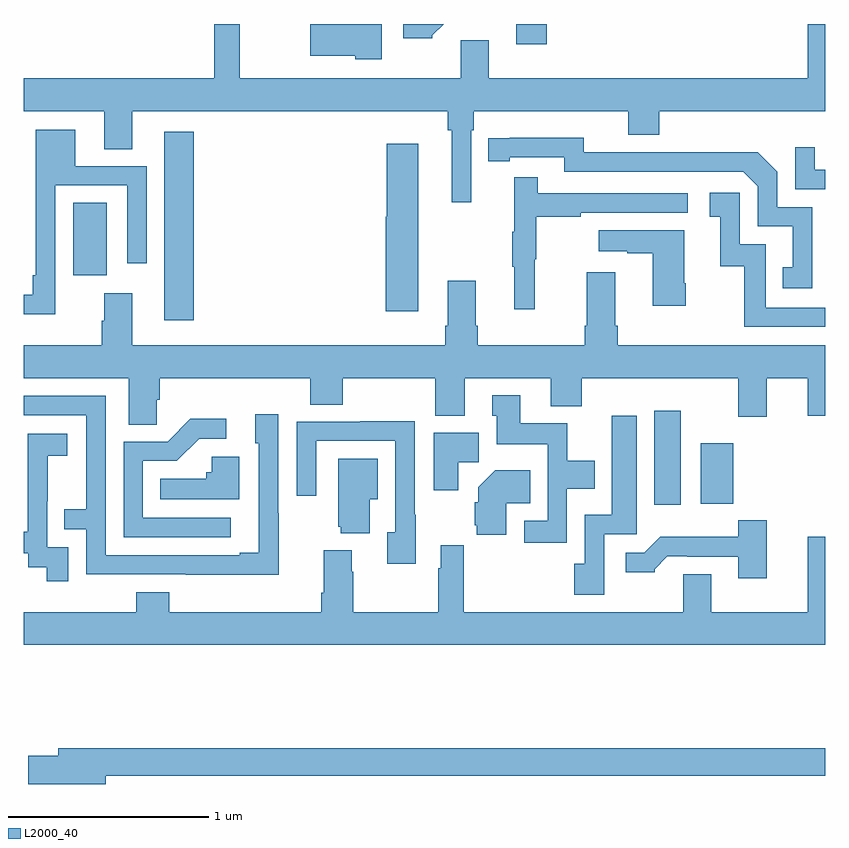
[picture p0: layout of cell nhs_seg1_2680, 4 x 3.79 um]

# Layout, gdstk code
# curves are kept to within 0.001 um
import gdstk
lib = gdstk.Library(unit=1e-6, precision=1e-09)
def R(c, l, rs):  # rectangles x0, y0, x1, y1
    for r in rs: c.add(gdstk.rectangle(r[:2], r[2:], *l))
def P(c, l, *ps):  # polygons
    for p in ps: c.add(gdstk.Polygon(p, *l))
L2000_40 = (2000, 40)

nhs_seg1_2680 = lib.new_cell('nhs_seg1_2680')
R(nhs_seg1_2680, L2000_40, [(260.147,517.8,260.278,518.269), (257.702,518.721,257.849,519.661), (257.246,518.946,257.413,519.308), (259.457,520.097,259.61,520.199)])
P(nhs_seg1_2680, L2000_40, [(259.038,520.142),(259.095,520.199),(258.894,520.199),(258.894,520.127),(259.038,520.127)],
  [(259.233,519.668),(259.247,519.668),(259.247,519.764),(260.018,519.764),(260.018,519.647),(260.171,519.647),(260.171,519.764),(261,519.764),(261,520.199),(260.912,520.199),(260.912,519.928),(259.321,519.928),(259.321,520.118),(259.181,520.118),(259.181,519.928),(258.079,519.928),(258.079,520.199),(257.95,520.199),(257.95,519.928),(257,519.928),(257,519.764),(257.402,519.764),(257.402,519.574),(257.542,519.574),(257.542,519.764),(259.117,519.764),(259.117,519.668),(259.136,519.668),(259.136,519.309),(259.233,519.309)],
  [(258.786,520.199),(258.69,520.199),(258.69,520.198),(258.429,520.198),(258.429,520.04),(258.654,520.04),(258.654,520.022),(258.786,520.022)],
  [(257.157,519.393),(257.517,519.393),(257.517,519.006),(257.613,519.006),(257.613,519.489),(257.257,519.489),(257.257,519.67),(257.061,519.67),(257.061,518.944),(257.045,518.944),(257.045,518.848),(257,518.848),(257,518.75),(257.157,518.75)],
  [(260.934,519.285),(260.76,519.285),(260.76,519.462),(260.662,519.56),(260.254,519.56),(260.254,519.558),(259.794,519.558),(259.794,519.631),(259.318,519.63),(259.318,519.514),(259.426,519.514),(259.426,519.534),(259.698,519.534),(259.698,519.462),(260.592,519.462),(260.664,519.39),(260.664,519.189),(260.837,519.189),(260.837,518.985),(260.788,518.985),(260.788,518.88),(260.934,518.88)],
  [(258.97,519.601),(258.812,519.601),(258.812,519.237),(258.806,519.237),(258.806,518.766),(258.97,518.766)],
  [(261,519.471),(260.947,519.471),(260.947,519.583),(260.85,519.583),(260.85,519.375),(261,519.375)],
  [(259.55,519.024),(259.558,519.024),(259.558,519.238),(259.781,519.238),(259.781,519.258),(260.314,519.258),(260.314,519.354),(259.565,519.354),(259.565,519.433),(259.448,519.433),(259.448,519.161),(259.437,519.161),(259.437,518.987),(259.448,518.987),(259.448,518.775),(259.55,518.775)],
  [(261,518.784),(260.703,518.784),(260.703,519.099),(260.574,519.099),(260.574,519.358),(260.424,519.358),(260.424,519.237),(260.477,519.237),(260.477,518.991),(260.595,518.991),(260.595,518.688),(261,518.688)],
  [(260.304,518.905),(260.296,518.905),(260.296,519.169),(259.869,519.169),(259.869,519.065),(260.012,519.065),(260.012,519.055),(260.138,519.055),(260.138,518.793),(260.304,518.793)],
  [(257.664,518.323),(257.678,518.323),(257.678,518.432),(258.431,518.432),(258.431,518.299),(258.591,518.299),(258.591,518.432),(259.054,518.432),(259.054,518.243),(259.201,518.243),(259.201,518.432),(259.631,518.432),(259.631,518.291),(259.784,518.291),(259.784,518.432),(260.567,518.432),(260.567,518.238),(260.707,518.238),(260.707,518.432),(260.912,518.432),(260.912,518.244),(261,518.244),(261,518.596),(259.964,518.596),(259.964,518.692),(259.951,518.692),(259.951,518.959),(259.811,518.959),(259.811,518.692),(259.799,518.692),(259.799,518.596),(259.267,518.596),(259.267,518.692),(259.255,518.692),(259.255,518.917),(259.115,518.917),(259.115,518.692),(259.103,518.692),(259.103,518.596),(257.542,518.596),(257.542,518.854),(257.402,518.854),(257.402,518.717),(257.39,518.717),(257.39,518.596),(257,518.596),(257,518.432),(257.525,518.432),(257.525,518.2),(257.664,518.2)],
  [(259.71,517.88),(259.849,517.88),(259.849,518.02),(259.713,518.02),(259.713,518.206),(259.477,518.206),(259.477,518.347),(259.337,518.347),(259.337,518.244),(259.361,518.244),(259.361,518.102),(259.614,518.102),(259.614,517.719),(259.497,517.719),(259.497,517.611),(259.71,517.611)],
  [(258.273,517.757),(258.27,517.757),(258.27,518.251),(258.155,518.251),(258.155,518.106),(258.174,518.106),(258.174,517.561),(258.077,517.561),(258.077,517.548),(257.409,517.548),(257.409,518.343),(257,518.343),(257,518.247),(257.313,518.247),(257.313,517.778),(257.203,517.778),(257.203,517.677),(257.313,517.677),(257.313,517.452),(257.809,517.452),(257.809,517.451),(258.273,517.451)],
  [(259.896,517.653),(260.059,517.653),(260.059,518.245),(259.934,518.245),(259.934,517.75),(259.8,517.75),(259.8,517.506),(259.748,517.506),(259.748,517.35),(259.896,517.35)],
  [(258.034,517.734),(257.595,517.734),(257.595,518.019),(257.764,518.019),(257.875,518.13),(258.01,518.13),(258.01,518.228),(257.831,518.228),(257.718,518.115),(257.499,518.115),(257.499,517.638),(258.034,517.638)],
  [(258.956,517.75),(258.951,517.75),(258.951,518.216),(258.679,518.216),(258.679,518.214),(258.363,518.214),(258.363,517.845),(258.459,517.845),(258.459,518.118),(258.855,518.118),(258.855,517.662),(258.815,517.662),(258.815,517.506),(258.956,517.506)],
  [(259.168,518.011),(259.27,518.011),(259.27,518.158),(259.046,518.158),(259.046,517.871),(259.168,517.871)],
  [(257.223,517.587),(257.118,517.587),(257.118,517.817),(257.12,517.817),(257.12,518.045),(257.218,518.045),(257.218,518.155),(257.02,518.155),(257.02,517.949),(257.021,517.949),(257.021,517.666),(257,517.666),(257,517.557),(257.022,517.557),(257.022,517.489),(257.115,517.489),(257.115,517.419),(257.223,517.419)],
  [(260.54,517.953),(260.542,517.953),(260.542,518.107),(260.378,518.107),(260.378,517.805),(260.54,517.805)],
  [(258.076,518.038),(257.937,518.038),(257.937,517.962),(257.911,517.962),(257.911,517.93),(257.68,517.93),(257.68,517.826),(258.076,517.826)],
  [(258.727,517.826),(258.766,517.826),(258.766,518.029),(258.569,518.029),(258.569,517.689),(258.581,517.689),(258.581,517.658),(258.727,517.658)],
  [(259.408,517.808),(259.529,517.808),(259.529,517.972),(259.352,517.972),(259.268,517.888),(259.268,517.812),(259.25,517.812),(259.25,517.698),(259.261,517.698),(259.261,517.651),(259.408,517.651)],
  [(260.707,517.723),(260.565,517.723),(260.565,517.639),(260.176,517.639),(260.097,517.56),(260.004,517.56),(260.004,517.463),(260.148,517.463),(260.148,517.478),(260.212,517.542),(260.311,517.542),(260.311,517.539),(260.567,517.539),(260.567,517.434),(260.707,517.434)],
  [(261,517.639),(260.912,517.639),(260.912,517.264),(260.431,517.264),(260.431,517.454),(260.291,517.454),(260.291,517.264),(259.196,517.264),(259.196,517.597),(259.08,517.597),(259.08,517.484),(259.068,517.484),(259.068,517.264),(258.645,517.264),(258.645,517.466),(258.637,517.466),(258.637,517.573),(258.497,517.573),(258.497,517.36),(258.485,517.36),(258.485,517.264),(257.726,517.264),(257.726,517.363),(257.561,517.363),(257.561,517.264),(257,517.264),(257,517.1),(261,517.1)],
  [(257.41,516.448),(261,516.448),(261,516.584),(257.171,516.584),(257.171,516.548),(257.022,516.548),(257.022,516.406),(257.41,516.406)])

lib.write_gds('nhs_seg1_2680.gds')
